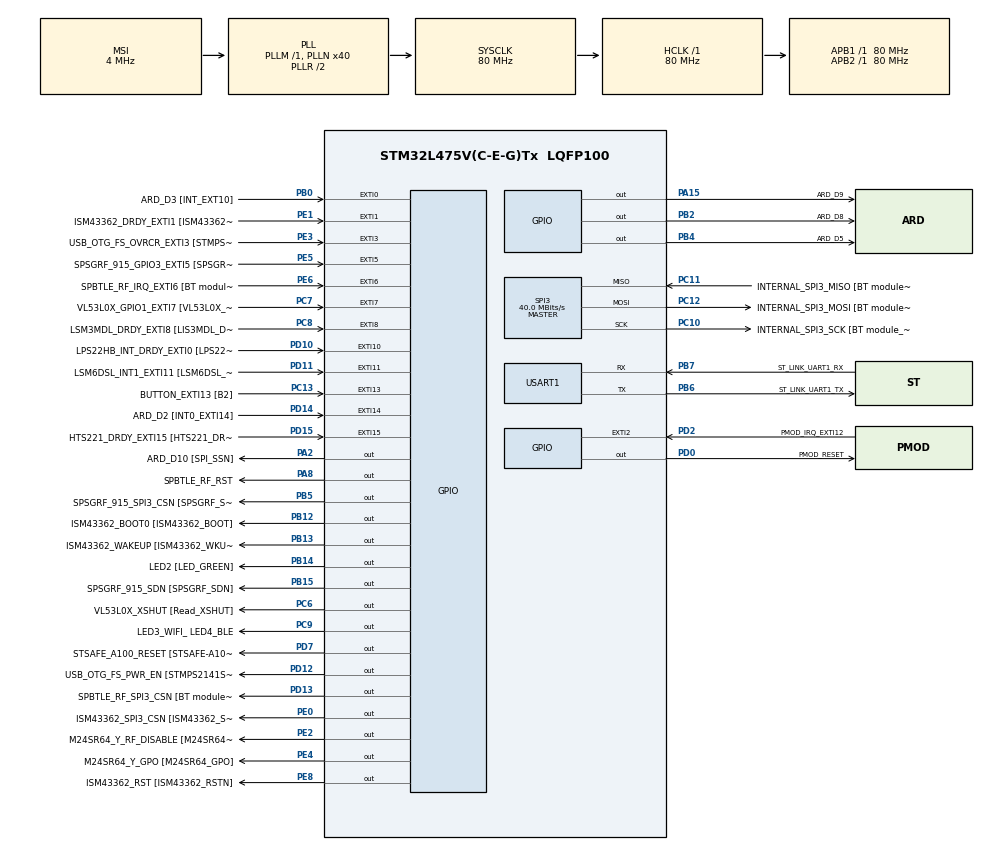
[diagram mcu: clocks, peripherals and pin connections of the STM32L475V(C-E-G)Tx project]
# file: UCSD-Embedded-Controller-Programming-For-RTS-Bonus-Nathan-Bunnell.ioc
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Dma.Request0=USART1_RX
Dma.Request1=USART1_TX
Dma.USART1_RX.0.Direction=DMA_PERIPH_TO_MEMORY
Dma.USART1_RX.0.Instance=DMA1_Channel5
Dma.USART1_RX.0.MemDataAlignment=DMA_MDATAALIGN_BYTE
Dma.USART1_RX.0.MemInc=DMA_MINC_ENABLE
Dma.USART1_RX.0.Mode=DMA_NORMAL
Dma.USART1_RX.0.PeriphDataAlignment=DMA_PDATAALIGN_BYTE
Dma.USART1_RX.0.PeriphInc=DMA_PINC_DISABLE
Dma.USART1_RX.0.Priority=DMA_PRIORITY_LOW
Dma.USART1_TX.1.Direction=DMA_MEMORY_TO_PERIPH
Dma.USART1_TX.1.Instance=DMA1_Channel4
Dma.USART1_TX.1.MemDataAlignment=DMA_MDATAALIGN_BYTE
Dma.USART1_TX.1.MemInc=DMA_MINC_ENABLE
Dma.USART1_TX.1.Mode=DMA_NORMAL
Dma.USART1_TX.1.PeriphDataAlignment=DMA_PDATAALIGN_BYTE
Dma.USART1_TX.1.PeriphInc=DMA_PINC_DISABLE
Dma.USART1_TX.1.Priority=DMA_PRIORITY_LOW
Mcu.Family=STM32L4
Mcu.Name=STM32L475V(C-E-G)Tx
Mcu.Package=LQFP100
NVIC.DMA1_Channel4_IRQn=true\:0\:0\:false\:false\:true\:false\:true
NVIC.DMA1_Channel5_IRQn=true\:0\:0\:false\:false\:true\:false\:true
NVIC.EXTI15_10_IRQn=true\:0\:0\:false\:false\:true\:true\:true
NVIC.EXTI9_5_IRQn=true\:0\:0\:false\:false\:true\:true\:true
NVIC.PriorityGroup=NVIC_PRIORITYGROUP_4
NVIC.RTC_Alarm_IRQn=true\:0\:0\:false\:false\:true\:true\:true
NVIC.USART1_IRQn=true\:0\:0\:false\:false\:true\:true\:true
PA0.GPIO_Label=ARD_D1 [UART4_TX]
PA0.Signal=UART4_TX
PA1.GPIO_Label=ARD_D0 [UART4_RX]
PA1.Signal=UART4_RX
PA10.GPIO_Label=USB_OTG_FS_ID
PA10.Signal=USB_OTG_FS_ID
PA11.GPIO_Label=USB_OTG_FS_DM
PA11.Signal=USB_OTG_FS_DM
PA12.GPIO_Label=USB_OTG_FS_DP
PA12.Signal=USB_OTG_FS_DP
PA13\ (JTMS-SWDIO).GPIO_Label=SYS_JTMS_SWDIO
PA13\ (JTMS-SWDIO).Mode=Serial_Wire
PA13\ (JTMS-SWDIO).Signal=SYS_JTMS-SWDIO
PA14\ (JTCK-SWCLK).GPIO_Label=SYS_JTCK_SWCLK
PA14\ (JTCK-SWCLK).Mode=Serial_Wire
PA14\ (JTCK-SWCLK).Signal=SYS_JTCK-SWCLK
PA15\ (JTDI).GPIO_Label=ARD_D9
PA15\ (JTDI).Signal=GPIO_Output
PA2.GPIO_Label=ARD_D10 [SPI_SSN]
PA2.Signal=GPIO_Output
PA3.GPIO_Label=ARD_D4
PA3.Signal=S_TIM2_CH4
PA4.GPIO_Label=ARD_D7
PA4.Signal=ADCx_IN9
PA5.GPIO_Label=ARD_D13 [SPI1_SCK]
PA5.Signal=SPI1_SCK
PA6.GPIO_Label=ARD_D12 [SPI1_MISO]
PA6.Signal=SPI1_MISO
PA7.GPIO_Label=ARD_D11 [SPI1_MOSI]
PA7.Signal=SPI1_MOSI
PA8.GPIO_Label=SPBTLE_RF_RST
PA8.Signal=GPIO_Output
PA9.GPIO_Label=USB_OTG_FS_VBUS [STMPS2141STR_OUT]
PA9.Signal=USB_OTG_FS_VBUS
PB0.GPIO_Label=ARD_D3 [INT_EXT10]
PB0.Signal=GPXTI0
PB1.GPIO_Label=ARD_D6 [ADC1_IN6]
PB1.Signal=ADCx_IN16
PB10.GPIO_Label=INTERNAL_I2C2_SCL [VL53L0X_SCL]
PB10.GPIO_Pu=GPIO_PULLUP
PB10.Signal=I2C2_SCL
PB11.GPIO_Label=INTERNAL_I2C2_SDA [VL53L0X_SDA]
PB11.GPIO_Pu=GPIO_PULLUP
PB11.Signal=I2C2_SDA
PB12.GPIO_Label=ISM43362_BOOT0 [ISM43362_BOOT]
PB12.Signal=GPIO_Output
PB13.GPIO_Label=ISM43362_WAKEUP [ISM43362_WKUP]
PB13.Signal=GPIO_Output
PB14.GPIO_Label=LED2 [LED_GREEN]
PB14.Signal=GPIO_Output
PB15.GPIO_Label=SPSGRF_915_SDN [SPSGRF_SDN]
PB15.Signal=GPIO_Output
PB2.GPIO_Label=ARD_D8
PB2.Signal=GPIO_Output
PB3\ (JTDO-TRACESWO).GPIO_Label=SYS_JTD0_SWO
PB3\ (JTDO-TRACESWO).Signal=SYS_JTDO-SWO
PB4\ (NJTRST).GPIO_Label=ARD_D5
PB4\ (NJTRST).Signal=GPIO_Output
PB5.GPIO_Label=SPSGRF_915_SPI3_CSN [SPSGRF_SPI_CS]
PB5.PinState=GPIO_PIN_SET
PB5.Signal=GPIO_Output
PB6.GPIO_Label=ST_LINK_UART1_TX
PB6.Mode=Asynchronous
PB6.Signal=USART1_TX
PB7.GPIO_Label=ST_LINK_UART1_RX
PB7.Mode=Asynchronous
PB7.Signal=USART1_RX
PB8.GPIO_Label=ARD_D15 [I2C1_SCL]
PB8.Signal=I2C1_SCL
PB9.GPIO_Label=ARD_D14 [I2C1_SDA]
PB9.Signal=I2C1_SDA
PC0.GPIO_Label=ARD_A5 [ADC]
PC0.Signal=ADCx_IN1
PC1.GPIO_Label=ARD_A4 [ADC]
PC1.Signal=ADCx_IN2
PC10.GPIO_Label=INTERNAL_SPI3_SCK [BT module_SPI_SCLK] [ISM43362_SCK]
PC10.Mode=Full_Duplex_Master
PC10.Signal=SPI3_SCK
PC11.GPIO_Label=INTERNAL_SPI3_MISO [BT module_SPI_MISO] [ISM43362_MISO]
PC11.Mode=Full_Duplex_Master
PC11.Signal=SPI3_MISO
PC12.GPIO_Label=INTERNAL_SPI3_MOSI [BT module_SPI_MOSI] [ISM43362_MOSI]
PC12.Mode=Full_Duplex_Master
PC12.Signal=SPI3_MOSI
PC13.GPIO_Label=BUTTON_EXTI13 [B2]
PC13.GPIO_ModeDefaultEXTI=GPIO_MODE_IT_FALLING
PC13.Signal=GPXTI13
PC14-OSC32_IN\ (PC14).Mode=LSE-External-Oscillator
PC14-OSC32_IN\ (PC14).Signal=RCC_OSC32_IN
PC15-OSC32_OUT\ (PC15).Mode=LSE-External-Oscillator
PC15-OSC32_OUT\ (PC15).Signal=RCC_OSC32_OUT
PC2.GPIO_Label=ARD_A3 [ADC]
PC2.Signal=ADCx_IN3
PC3.GPIO_Label=ARD_A2 [ADC]
PC3.Signal=ADCx_IN4
PC4.GPIO_Label=ARD_A1 [ADC]
PC4.Signal=ADCx_IN13
PC5.GPIO_Label=ARD_A0 [ADC]
PC5.Signal=ADCx_IN14
PC6.GPIO_Label=VL53L0X_XSHUT [Read_XSHUT]
PC6.Signal=GPIO_Output
PC7.GPIO_Label=VL53L0X_GPIO1_EXTI7 [VL53L0X_GPIO1]
PC7.Signal=GPXTI7
PC8.GPIO_Label=LSM3MDL_DRDY_EXTI8 [LIS3MDL_DRDY]
PC8.Signal=GPXTI8
PC9.GPIO_Label=LED3_WIFI_ LED4_BLE
PC9.Signal=GPIO_Output
PD0.GPIO_Label=PMOD_RESET
PD0.Signal=GPIO_Output
PD1.GPIO_Label=PMOD_SPI2_SCK
PD1.Signal=SPI2_SCK
PD10.GPIO_Label=LPS22HB_INT_DRDY_EXTI0 [LPS22HB_INT_DRDY] 
PD10.Signal=GPXTI10
PD11.GPIO_Label=LSM6DSL_INT1_EXTI11 [LSM6DSL_INT1]
PD11.Signal=GPXTI11
PD12.GPIO_Label=USB_OTG_FS_PWR_EN [STMPS2141STR_EN]
PD12.Signal=GPIO_Output
PD13.GPIO_Label=SPBTLE_RF_SPI3_CSN [BT module_SPI_CS]
PD13.PinState=GPIO_PIN_SET
PD13.Signal=GPIO_Output
PD14.GPIO_Label=ARD_D2 [INT0_EXTI14]
PD14.Signal=GPXTI14
PD15.GPIO_Label=HTS221_DRDY_EXTI15 [HTS221_DRDY]
PD15.Signal=GPXTI15
PD2.GPIO_Label=PMOD_IRQ_EXTI12
PD2.Signal=GPXTI2
PD3.GPIO_Label=PMOD_UART2_CTS
PD3.Signal=USART2_CTS
PD4.GPIO_Label=PMOD_UART2_RTS
PD4.Signal=USART2_RTS
PD5.GPIO_Label=PMOD_UART2_TX
PD5.Signal=USART2_TX
PD6.GPIO_Label=PMOD_UART2_RX
PD6.Signal=USART2_RX
PD7.GPIO_Label=STSAFE_A100_RESET [STSAFE-A100_RESET]
PD7.Signal=GPIO_Output
PD8.GPIO_Label=INTERNAL_UART3_TX [ISM43362_RX]
PD8.Signal=USART3_TX
PD9.GPIO_Label=INTERNAL_UART3_RX [ISM43362_TX]
PD9.Signal=USART3_RX
PE0.GPIO_Label=ISM43362_SPI3_CSN [ISM43362_SSN]
PE0.PinState=GPIO_PIN_SET
PE0.Signal=GPIO_Output
PE1.GPIO_Label=ISM43362_DRDY_EXTI1 [ISM43362_DATARDY]
PE1.Signal=GPXTI1
PE10.GPIO_Label=QUADSPI_CLK [MX25R6435F_SCLK]
PE10.Signal=QUADSPI_CLK
PE11.GPIO_Label=QUADSPI_NCS [MX25R6435F_SCLK]
PE11.Signal=QUADSPI_NCS
PE12.GPIO_Label=OQUADSPI_BK1_IO0 [MX25R6435F_IO0]
PE12.Signal=QUADSPI_BK1_IO0
PE13.GPIO_Label=QUADSPI_BK1_IO1 [MX25R6435F_IO1]
PE13.Signal=QUADSPI_BK1_IO1
PE14.GPIO_Label=QUAD_SPI_BK1_IO2 [MX25R6435F_IO2]
PE14.Signal=QUADSPI_BK1_IO2
PE15.GPIO_Label=QUAD_SPI_BK1_IO3 [MX25R6435F_IO3]
PE15.Signal=QUADSPI_BK1_IO3
PE2.GPIO_Label=M24SR64_Y_RF_DISABLE [M24SR64_RFDIS]
PE2.Signal=GPIO_Output
PE3.GPIO_Label=USB_OTG_FS_OVRCR_EXTI3 [STMPS2141STR_FAULT]
PE3.Signal=GPXTI3
PE4.GPIO_Label=M24SR64_Y_GPO [M24SR64_GPO]
PE4.Signal=GPIO_Output
PE5.GPIO_Label=SPSGRF_915_GPIO3_EXTI5 [SPSGRF_GPIO_3]
PE5.Signal=GPXTI5
PE6.GPIO_Label=SPBTLE_RF_IRQ_EXTI6 [BT module_SPI_IRQ]
PE6.Signal=GPXTI6
PE7.GPIO_Label=DFSDM1_DATIN2 [MP34DT01_DOUT]
PE7.Signal=S_DATAIN2DFSDM1
PE8.GPIO_Label=ISM43362_RST [ISM43362_RSTN]
PE8.Signal=GPIO_Output
PE9.GPIO_Label=DFSDM1_CKOUT [MP34DT01_CLK]
PE9.Signal=S_CKOUTDFSDM1
ProjectManager.HeapSize=0x200
ProjectManager.StackSize=0x400
ProjectManager.TargetToolchain=STM32CubeIDE
RCC.ADCFreq_Value=48000000
RCC.AHBFreq_Value=80000000
RCC.APB1Freq_Value=80000000
RCC.APB1TimFreq_Value=80000000
RCC.APB2Freq_Value=80000000
RCC.APB2TimFreq_Value=80000000
RCC.CortexFreq_Value=80000000
RCC.HCLKFreq_Value=80000000
RCC.HSE_VALUE=8000000
RCC.HSI_VALUE=16000000
RCC.MSI_VALUE=4000000
RCC.PLLN=40
RCC.PLLSAI1N=24
RCC.SYSCLKFreq_VALUE=80000000
RCC.SYSCLKSource=RCC_SYSCLKSOURCE_PLLCLK
RCC.USBFreq_Value=48000000
RCC.VCOOutputFreq_Value=160000000
RTC.Alarm-Alarm\ A=RTC_ALARM_A
SH.ADCx_IN1.0=ADC1_IN1
SH.ADCx_IN13.0=ADC1_IN13
SH.ADCx_IN14.0=ADC1_IN14
SH.ADCx_IN16.0=ADC1_IN16
SH.ADCx_IN2.0=ADC1_IN2
SH.ADCx_IN3.0=ADC1_IN3
SH.ADCx_IN4.0=ADC1_IN4
SH.ADCx_IN9.0=ADC1_IN9
SH.S_CKOUTDFSDM1.0=DFSDM1_CKOUT
SH.S_DATAIN2DFSDM1.0=DFSDM1_DATIN2
SH.S_TIM2_CH4.0=TIM2_CH4
SPI3.CalculateBaudRate=40.0 MBits/s
SPI3.Direction=SPI_DIRECTION_2LINES
SPI3.Mode=SPI_MODE_MASTER
SPI3.VirtualType=VM_MASTER
USART1.VirtualMode-Asynchronous=VM_ASYNC
VP_RTC_VS_RTC_Activate.Mode=RTC_Enabled
VP_RTC_VS_RTC_Alarm_A_Intern.Mode=Alarm A
VP_RTC_VS_RTC_Calendar.Mode=RTC_Calendar
board=B-L475E-IOT01A1

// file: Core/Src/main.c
/* USER CODE BEGIN Header */
/**
  ******************************************************************************
  * @file           : main.c
  * @brief          : Main program body
  ******************************************************************************
  * @attention
  *
  * <h2><center>&copy; Copyright (c) 2021 STMicroelectronics.
  * All rights reserved.</center></h2>
  *
  * This software component is licensed by ST under BSD 3-Clause license,
  * the "License"; You may not use this file except in compliance with the
  * License. You may obtain a copy of the License at:
  *                        opensource.org/licenses/BSD-3-Clause
  *
  ******************************************************************************
  */
/* USER CODE END Header */
#include "main.h"

/* USER CODE BEGIN Includes */

#include <stdio.h>
#include <string.h>
#include <stdbool.h>

/* USER CODE END Includes */

RTC_HandleTypeDef hrtc;

SPI_HandleTypeDef hspi3;

UART_HandleTypeDef huart1;
DMA_HandleTypeDef hdma_usart1_rx;
DMA_HandleTypeDef hdma_usart1_tx;

/* USER CODE BEGIN PV */

// Define a pair of interrupt-complete status flags
static bool txInterruptComplete = 0;
static bool rxInterruptComplete = 0;

/* USER CODE END PV */

void SystemClock_Config(void);
static void MX_GPIO_Init(void);
static void MX_SPI3_Init(void);
static void MX_DMA_Init(void);
static void MX_USART1_UART_Init(void);
static void MX_RTC_Init(void);
/* USER CODE BEGIN PFP */

//void HAL_UART_TxCpltCallback(UART_HandleTypeDef *huart);
//void HAL_UART_RxCpltCallback(UART_HandleTypeDef *huart);

void logMsg(UART_HandleTypeDef *huart, char *_out);
char logGetMsg(UART_HandleTypeDef *huart);

/* USER CODE END PFP */

/* USER CODE BEGIN 0 */

// Define the IT callback functions
void HAL_UART_TxCpltCallback(UART_HandleTypeDef *huart)
{
	// Set our complete flag
	txInterruptComplete = 1;
}

void HAL_UART_RxCpltCallback(UART_HandleTypeDef *huart)
{
	// Set our complete flag
	rxInterruptComplete = 1;
}

// logMsg function prints a string, _out, to the console over the specified UART
void logMsg(UART_HandleTypeDef *huart, char *_out)
{
	// Clear the complete flag
	txInterruptComplete = 0;

	char buffer[100] = {0};		// Large char buffer for string printing
    snprintf(buffer, sizeof(buffer), "%s", _out);
    HAL_UART_Transmit_DMA(&huart1, (uint8_t*) buffer, strlen(buffer));

    // Loiter until the IT complete flag is set

	while (!txInterruptComplete)
	{
		;
	}

}

// logMsg function returns a char, c, over the specified UART
char logGetMsg(UART_HandleTypeDef *huart)
{
	// Clear the complete flag
	rxInterruptComplete = 0;

  char c = '\0';				// Set default return value to NULL
  HAL_UART_Receive_DMA(&huart1, (uint8_t*) &c, sizeof(c));

  // Loiter until the IT complete flag is set
  while (!rxInterruptComplete)
  {
	  ;
  }

  return c;
}

/* USER CODE END 0 */

int main(void)
{

  /* MCU Configuration--------------------------------------------------------*/

  /* Reset of all peripherals, Initializes the Flash interface and the Systick. */
  HAL_Init();

  /* Configure the system clock */
  SystemClock_Config();

  /* Initialize all configured peripherals */
  MX_GPIO_Init();
  MX_SPI3_Init();
  MX_DMA_Init();
  MX_USART1_UART_Init();
  MX_RTC_Init();
  /* USER CODE BEGIN 2 */

  RTC_DateTypeDef rtcDate;
  RTC_TimeTypeDef rtcTime;

  // Header info with instructions for user at console
    logMsg(&huart1, "Welcome to Embedded controller programming\n");
    logMsg(&huart1, " - Enter g for toggling Green LED\n");
    logMsg(&huart1, " - Enter b for toggling Blue LED\n");
    logMsg(&huart1, " - Enter t for RTC values\n");
    logMsg(&huart1, " - Enter c for clock mode\n");

  /* USER CODE END 2 */

  /* Infinite loop */
  while (1)
  {

    /* USER CODE BEGIN 3 */
	  // Define an input char with default value of NULL
	      char input = '\0';
	      input = logGetMsg(&huart1);

	      // Evaluate input char and execute methods associated with command
	      switch(input)
	      {
	          // Print received char, toggle green LED
	          case ('g'):
	          {
	              logMsg(&huart1, "g\n");
	              HAL_GPIO_TogglePin(LED2_GPIO_Port, LED2_Pin);
	              break;
	          }

	          // Print received char, toggle blue LED
	          case ('b'):
	          {
	              logMsg(&huart1, "b\n");
	              HAL_GPIO_TogglePin(LED3_WIFI__LED4_BLE_GPIO_Port, LED3_WIFI__LED4_BLE_Pin);
	              break;
	          }

	          // Print RTC time
			  case ('t'):
			  {
				  logMsg(&huart1, "t\n");
				  HAL_RTC_GetTime(&hrtc, &rtcTime, RTC_FORMAT_BIN);
				  HAL_RTC_GetDate(&hrtc, &rtcDate, RTC_FORMAT_BIN);

				  char buffer[100] = {0};		// Large char buffer for string printing
				  snprintf(buffer, sizeof(buffer), "Current date is: %02d/%02d/%02d\n", rtcDate.Month, rtcDate.Date, rtcDate.Year);
				  //HAL_UART_Transmit_DMA(&huart1, (uint8_t*) buffer, strlen(buffer));
				  logMsg(&huart1, buffer);

				  HAL_Delay(100);

				  snprintf(buffer, sizeof(buffer), "Current time is: %02d:%02d:%02d\n", rtcTime.Hours, rtcTime.Minutes, rtcTime.Seconds);
				  //HAL_UART_Transmit_DMA(&huart1, (uint8_t*) buffer, strlen(buffer));
				  logMsg(&huart1, buffer);

				  break;
			  }

			  case ('c'):
			  {
				  logMsg(&huart1, "Entering clock mode. Reset req'd to exit!\n");
				  char buffer[100] = {0};		// Large char buffer for string printing
/*
				  HAL_RTC_GetTime(&hrtc, &rtcTime, RTC_FORMAT_BIN);

				  snprintf(buffer, sizeof(buffer), "\rCurrent time is: %02d:%02d:%02d", rtcTime.Hours, rtcTime.Minutes, rtcTime.Seconds);
				  logMsg(&huart1, buffer);
*/
				  while(1)
				  {
					  HAL_RTC_GetTime(&hrtc, &rtcTime, RTC_FORMAT_BIN);
					  HAL_RTC_GetDate(&hrtc, &rtcDate, RTC_FORMAT_BIN);

					  snprintf(buffer, sizeof(buffer), "Current time is: %02d:%02d:%02d", rtcTime.Hours, rtcTime.Minutes, rtcTime.Seconds);
					  logMsg(&huart1, "\r");
					  logMsg(&huart1, buffer);

					  HAL_Delay(5000);
				  }

				  break;
			  }

	          // Default case. Print error message
	          default:
	          {
	              logMsg(&huart1, "Unknown character received!\n");
	              break;
	          }
	      }
  }
  /* USER CODE END 3 */
}

void SystemClock_Config(void)
{
  RCC_OscInitTypeDef RCC_OscInitStruct = {0};
  RCC_ClkInitTypeDef RCC_ClkInitStruct = {0};

  /** Configure the main internal regulator output voltage
  */
  if (HAL_PWREx_ControlVoltageScaling(PWR_REGULATOR_VOLTAGE_SCALE1) != HAL_OK)
  {
    Error_Handler();
  }
  /** Configure LSE Drive Capability
  */
  HAL_PWR_EnableBkUpAccess();
  __HAL_RCC_LSEDRIVE_CONFIG(RCC_LSEDRIVE_LOW);
  /** Initializes the RCC Oscillators according to the specified parameters
  * in the RCC_OscInitTypeDef structure.
  */
  RCC_OscInitStruct.OscillatorType = RCC_OSCILLATORTYPE_LSI|RCC_OSCILLATORTYPE_LSE
                              |RCC_OSCILLATORTYPE_MSI;
  RCC_OscInitStruct.LSEState = RCC_LSE_ON;
  RCC_OscInitStruct.LSIState = RCC_LSI_ON;
  RCC_OscInitStruct.MSIState = RCC_MSI_ON;
  RCC_OscInitStruct.MSICalibrationValue = 0;
  RCC_OscInitStruct.MSIClockRange = RCC_MSIRANGE_6;
  RCC_OscInitStruct.PLL.PLLState = RCC_PLL_ON;
  RCC_OscInitStruct.PLL.PLLSource = RCC_PLLSOURCE_MSI;
  RCC_OscInitStruct.PLL.PLLM = 1;
  RCC_OscInitStruct.PLL.PLLN = 40;
  RCC_OscInitStruct.PLL.PLLP = RCC_PLLP_DIV7;
  RCC_OscInitStruct.PLL.PLLQ = RCC_PLLQ_DIV2;
  RCC_OscInitStruct.PLL.PLLR = RCC_PLLR_DIV2;
  if (HAL_RCC_OscConfig(&RCC_OscInitStruct) != HAL_OK)
  {
    Error_Handler();
  }
  /** Initializes the CPU, AHB and APB buses clocks
  */
  RCC_ClkInitStruct.ClockType = RCC_CLOCKTYPE_HCLK|RCC_CLOCKTYPE_SYSCLK
                              |RCC_CLOCKTYPE_PCLK1|RCC_CLOCKTYPE_PCLK2;
  RCC_ClkInitStruct.SYSCLKSource = RCC_SYSCLKSOURCE_PLLCLK;
  RCC_ClkInitStruct.AHBCLKDivider = RCC_SYSCLK_DIV1;
  RCC_ClkInitStruct.APB1CLKDivider = RCC_HCLK_DIV1;
  RCC_ClkInitStruct.APB2CLKDivider = RCC_HCLK_DIV1;

  if (HAL_RCC_ClockConfig(&RCC_ClkInitStruct, FLASH_LATENCY_4) != HAL_OK)
  {
    Error_Handler();
  }
  /** Enable MSI Auto calibration
  */
  HAL_RCCEx_EnableMSIPLLMode();
}

static void MX_RTC_Init(void)
{

  RTC_TimeTypeDef sTime = {0};
  RTC_DateTypeDef sDate = {0};
  RTC_AlarmTypeDef sAlarm = {0};

  /** Initialize RTC Only
  */
  hrtc.Instance = RTC;
  hrtc.Init.HourFormat = RTC_HOURFORMAT_24;
  hrtc.Init.AsynchPrediv = 127;
  hrtc.Init.SynchPrediv = 255;
  hrtc.Init.OutPut = RTC_OUTPUT_DISABLE;
  hrtc.Init.OutPutRemap = RTC_OUTPUT_REMAP_NONE;
  hrtc.Init.OutPutPolarity = RTC_OUTPUT_POLARITY_HIGH;
  hrtc.Init.OutPutType = RTC_OUTPUT_TYPE_OPENDRAIN;
  if (HAL_RTC_Init(&hrtc) != HAL_OK)
  {
    Error_Handler();
  }

  /** Initialize RTC and set the Time and Date
  */
  sTime.Hours = 0x0;
  sTime.Minutes = 0x0;
  sTime.Seconds = 0x0;
  sTime.DayLightSaving = RTC_DAYLIGHTSAVING_NONE;
  sTime.StoreOperation = RTC_STOREOPERATION_RESET;
  if (HAL_RTC_SetTime(&hrtc, &sTime, RTC_FORMAT_BCD) != HAL_OK)
  {
    Error_Handler();
  }
  sDate.WeekDay = RTC_WEEKDAY_MONDAY;
  sDate.Month = RTC_MONTH_JANUARY;
  sDate.Date = 0x1;
  sDate.Year = 0x0;

  if (HAL_RTC_SetDate(&hrtc, &sDate, RTC_FORMAT_BCD) != HAL_OK)
  {
    Error_Handler();
  }
  /** Enable the Alarm A
  */
  sAlarm.AlarmTime.Hours = 0x0;
  sAlarm.AlarmTime.Minutes = 0x0;
  sAlarm.AlarmTime.Seconds = 0x0;
  sAlarm.AlarmTime.SubSeconds = 0x0;
  sAlarm.AlarmTime.DayLightSaving = RTC_DAYLIGHTSAVING_NONE;
  sAlarm.AlarmTime.StoreOperation = RTC_STOREOPERATION_RESET;
  sAlarm.AlarmMask = RTC_ALARMMASK_NONE;
  sAlarm.AlarmSubSecondMask = RTC_ALARMSUBSECONDMASK_ALL;
  sAlarm.AlarmDateWeekDaySel = RTC_ALARMDATEWEEKDAYSEL_DATE;
  sAlarm.AlarmDateWeekDay = 0x1;
  sAlarm.Alarm = RTC_ALARM_A;
  if (HAL_RTC_SetAlarm_IT(&hrtc, &sAlarm, RTC_FORMAT_BCD) != HAL_OK)
  {
    Error_Handler();
  }

}

static void MX_SPI3_Init(void)
{

  /* SPI3 parameter configuration*/
  hspi3.Instance = SPI3;
  hspi3.Init.Mode = SPI_MODE_MASTER;
  hspi3.Init.Direction = SPI_DIRECTION_2LINES;
  hspi3.Init.DataSize = SPI_DATASIZE_4BIT;
  hspi3.Init.CLKPolarity = SPI_POLARITY_LOW;
  hspi3.Init.CLKPhase = SPI_PHASE_1EDGE;
  hspi3.Init.NSS = SPI_NSS_SOFT;
  hspi3.Init.BaudRatePrescaler = SPI_BAUDRATEPRESCALER_2;
  hspi3.Init.FirstBit = SPI_FIRSTBIT_MSB;
  hspi3.Init.TIMode = SPI_TIMODE_DISABLE;
  hspi3.Init.CRCCalculation = SPI_CRCCALCULATION_DISABLE;
  hspi3.Init.CRCPolynomial = 7;
  hspi3.Init.CRCLength = SPI_CRC_LENGTH_DATASIZE;
  hspi3.Init.NSSPMode = SPI_NSS_PULSE_ENABLE;
  if (HAL_SPI_Init(&hspi3) != HAL_OK)
  {
    Error_Handler();
  }

}

static void MX_USART1_UART_Init(void)
{

  huart1.Instance = USART1;
  huart1.Init.BaudRate = 115200;
  huart1.Init.WordLength = UART_WORDLENGTH_8B;
  huart1.Init.StopBits = UART_STOPBITS_1;
  huart1.Init.Parity = UART_PARITY_NONE;
  huart1.Init.Mode = UART_MODE_TX_RX;
  huart1.Init.HwFlowCtl = UART_HWCONTROL_NONE;
  huart1.Init.OverSampling = UART_OVERSAMPLING_16;
  huart1.Init.OneBitSampling = UART_ONE_BIT_SAMPLE_DISABLE;
  huart1.AdvancedInit.AdvFeatureInit = UART_ADVFEATURE_NO_INIT;
  if (HAL_UART_Init(&huart1) != HAL_OK)
  {
    Error_Handler();
  }

}

static void MX_DMA_Init(void)
{

  /* DMA controller clock enable */
  __HAL_RCC_DMA1_CLK_ENABLE();

  /* DMA interrupt init */
  /* DMA1_Channel4_IRQn interrupt configuration */
  HAL_NVIC_SetPriority(DMA1_Channel4_IRQn, 0, 0);
  HAL_NVIC_EnableIRQ(DMA1_Channel4_IRQn);
  /* DMA1_Channel5_IRQn interrupt configuration */
  HAL_NVIC_SetPriority(DMA1_Channel5_IRQn, 0, 0);
  HAL_NVIC_EnableIRQ(DMA1_Channel5_IRQn);

}

static void MX_GPIO_Init(void)
{
  GPIO_InitTypeDef GPIO_InitStruct = {0};

  /* GPIO Ports Clock Enable */
  __HAL_RCC_GPIOE_CLK_ENABLE();
  __HAL_RCC_GPIOC_CLK_ENABLE();
  __HAL_RCC_GPIOA_CLK_ENABLE();
  __HAL_RCC_GPIOB_CLK_ENABLE();
  __HAL_RCC_GPIOD_CLK_ENABLE();

  /*Configure GPIO pin Output Level */
  HAL_GPIO_WritePin(GPIOE, M24SR64_Y_RF_DISABLE_Pin|M24SR64_Y_GPO_Pin|ISM43362_RST_Pin, GPIO_PIN_RESET);

  /*Configure GPIO pin Output Level */
  HAL_GPIO_WritePin(GPIOA, ARD_D10_Pin|SPBTLE_RF_RST_Pin|ARD_D9_Pin, GPIO_PIN_RESET);

  /*Configure GPIO pin Output Level */
  HAL_GPIO_WritePin(GPIOB, ARD_D8_Pin|ISM43362_BOOT0_Pin|ISM43362_WAKEUP_Pin|LED2_Pin
                          |SPSGRF_915_SDN_Pin|ARD_D5_Pin, GPIO_PIN_RESET);

  /*Configure GPIO pin Output Level */
  HAL_GPIO_WritePin(GPIOD, USB_OTG_FS_PWR_EN_Pin|PMOD_RESET_Pin|STSAFE_A100_RESET_Pin, GPIO_PIN_RESET);

  /*Configure GPIO pin Output Level */
  HAL_GPIO_WritePin(SPBTLE_RF_SPI3_CSN_GPIO_Port, SPBTLE_RF_SPI3_CSN_Pin, GPIO_PIN_SET);

  /*Configure GPIO pin Output Level */
  HAL_GPIO_WritePin(GPIOC, VL53L0X_XSHUT_Pin|LED3_WIFI__LED4_BLE_Pin, GPIO_PIN_RESET);

  /*Configure GPIO pin Output Level */
  HAL_GPIO_WritePin(SPSGRF_915_SPI3_CSN_GPIO_Port, SPSGRF_915_SPI3_CSN_Pin, GPIO_PIN_SET);

  /*Configure GPIO pin Output Level */
  HAL_GPIO_WritePin(ISM43362_SPI3_CSN_GPIO_Port, ISM43362_SPI3_CSN_Pin, GPIO_PIN_SET);

  /*Configure GPIO pins : M24SR64_Y_RF_DISABLE_Pin M24SR64_Y_GPO_Pin ISM43362_RST_Pin ISM43362_SPI3_CSN_Pin */
  GPIO_InitStruct.Pin = M24SR64_Y_RF_DISABLE_Pin|M24SR64_Y_GPO_Pin|ISM43362_RST_Pin|ISM43362_SPI3_CSN_Pin;
  GPIO_InitStruct.Mode = GPIO_MODE_OUTPUT_PP;
  GPIO_InitStruct.Pull = GPIO_NOPULL;
  GPIO_InitStruct.Speed = GPIO_SPEED_FREQ_LOW;
  HAL_GPIO_Init(GPIOE, &GPIO_InitStruct);

  /*Configure GPIO pins : USB_OTG_FS_OVRCR_EXTI3_Pin SPSGRF_915_GPIO3_EXTI5_Pin SPBTLE_RF_IRQ_EXTI6_Pin ISM43362_DRDY_EXTI1_Pin */
  GPIO_InitStruct.Pin = USB_OTG_FS_OVRCR_EXTI3_Pin|SPSGRF_915_GPIO3_EXTI5_Pin|SPBTLE_RF_IRQ_EXTI6_Pin|ISM43362_DRDY_EXTI1_Pin;
  GPIO_InitStruct.Mode = GPIO_MODE_IT_RISING;
  GPIO_InitStruct.Pull = GPIO_NOPULL;
  HAL_GPIO_Init(GPIOE, &GPIO_InitStruct);

  /*Configure GPIO pin : BUTTON_EXTI13_Pin */
  GPIO_InitStruct.Pin = BUTTON_EXTI13_Pin;
  GPIO_InitStruct.Mode = GPIO_MODE_IT_FALLING;
  GPIO_InitStruct.Pull = GPIO_NOPULL;
  HAL_GPIO_Init(BUTTON_EXTI13_GPIO_Port, &GPIO_InitStruct);

  /*Configure GPIO pins : ARD_A5_Pin ARD_A4_Pin ARD_A3_Pin ARD_A2_Pin
                           ARD_A1_Pin ARD_A0_Pin */
  GPIO_InitStruct.Pin = ARD_A5_Pin|ARD_A4_Pin|ARD_A3_Pin|ARD_A2_Pin
                          |ARD_A1_Pin|ARD_A0_Pin;
  GPIO_InitStruct.Mode = GPIO_MODE_ANALOG_ADC_CONTROL;
  GPIO_InitStruct.Pull = GPIO_NOPULL;
  HAL_GPIO_Init(GPIOC, &GPIO_InitStruct);

  /*Configure GPIO pins : ARD_D1_Pin ARD_D0_Pin */
  GPIO_InitStruct.Pin = ARD_D1_Pin|ARD_D0_Pin;
  GPIO_InitStruct.Mode = GPIO_MODE_AF_PP;
  GPIO_InitStruct.Pull = GPIO_NOPULL;
  GPIO_InitStruct.Speed = GPIO_SPEED_FREQ_VERY_HIGH;
  GPIO_InitStruct.Alternate = GPIO_AF8_UART4;
  HAL_GPIO_Init(GPIOA, &GPIO_InitStruct);

  /*Configure GPIO pins : ARD_D10_Pin SPBTLE_RF_RST_Pin ARD_D9_Pin */
  GPIO_InitStruct.Pin = ARD_D10_Pin|SPBTLE_RF_RST_Pin|ARD_D9_Pin;
  GPIO_InitStruct.Mode = GPIO_MODE_OUTPUT_PP;
  GPIO_InitStruct.Pull = GPIO_NOPULL;
  GPIO_InitStruct.Speed = GPIO_SPEED_FREQ_LOW;
  HAL_GPIO_Init(GPIOA, &GPIO_InitStruct);

  /*Configure GPIO pin : ARD_D4_Pin */
  GPIO_InitStruct.Pin = ARD_D4_Pin;
  GPIO_InitStruct.Mode = GPIO_MODE_AF_PP;
  GPIO_InitStruct.Pull = GPIO_NOPULL;
  GPIO_InitStruct.Speed = GPIO_SPEED_FREQ_LOW;
  GPIO_InitStruct.Alternate = GPIO_AF1_TIM2;
  HAL_GPIO_Init(ARD_D4_GPIO_Port, &GPIO_InitStruct);

  /*Configure GPIO pin : ARD_D7_Pin */
  GPIO_InitStruct.Pin = ARD_D7_Pin;
  GPIO_InitStruct.Mode = GPIO_MODE_ANALOG_ADC_CONTROL;
  GPIO_InitStruct.Pull = GPIO_NOPULL;
  HAL_GPIO_Init(ARD_D7_GPIO_Port, &GPIO_InitStruct);

  /*Configure GPIO pins : ARD_D13_Pin ARD_D12_Pin ARD_D11_Pin */
  GPIO_InitStruct.Pin = ARD_D13_Pin|ARD_D12_Pin|ARD_D11_Pin;
  GPIO_InitStruct.Mode = GPIO_MODE_AF_PP;
  GPIO_InitStruct.Pull = GPIO_NOPULL;
  GPIO_InitStruct.Speed = GPIO_SPEED_FREQ_VERY_HIGH;
  GPIO_InitStruct.Alternate = GPIO_AF5_SPI1;
  HAL_GPIO_Init(GPIOA, &GPIO_InitStruct);

  /*Configure GPIO pin : ARD_D3_Pin */
  GPIO_InitStruct.Pin = ARD_D3_Pin;
  GPIO_InitStruct.Mode = GPIO_MODE_IT_RISING;
  GPIO_InitStruct.Pull = GPIO_NOPULL;
  HAL_GPIO_Init(ARD_D3_GPIO_Port, &GPIO_InitStruct);

  /*Configure GPIO pin : ARD_D6_Pin */
  GPIO_InitStruct.Pin = ARD_D6_Pin;
  GPIO_InitStruct.Mode = GPIO_MODE_ANALOG_ADC_CONTROL;
  GPIO_InitStruct.Pull = GPIO_NOPULL;
  HAL_GPIO_Init(ARD_D6_GPIO_Port, &GPIO_InitStruct);

  /*Configure GPIO pins : ARD_D8_Pin ISM43362_BOOT0_Pin ISM43362_WAKEUP_Pin LED2_Pin
                           SPSGRF_915_SDN_Pin ARD_D5_Pin SPSGRF_915_SPI3_CSN_Pin */
  GPIO_InitStruct.Pin = ARD_D8_Pin|ISM43362_BOOT0_Pin|ISM43362_WAKEUP_Pin|LED2_Pin
                          |SPSGRF_915_SDN_Pin|ARD_D5_Pin|SPSGRF_915_SPI3_CSN_Pin;
  GPIO_InitStruct.Mode = GPIO_MODE_OUTPUT_PP;
  GPIO_InitStruct.Pull = GPIO_NOPULL;
  GPIO_InitStruct.Speed = GPIO_SPEED_FREQ_LOW;
  HAL_GPIO_Init(GPIOB, &GPIO_InitStruct);

  /*Configure GPIO pins : DFSDM1_DATIN2_Pin DFSDM1_CKOUT_Pin */
  GPIO_InitStruct.Pin = DFSDM1_DATIN2_Pin|DFSDM1_CKOUT_Pin;
  GPIO_InitStruct.Mode = GPIO_MODE_AF_PP;
  GPIO_InitStruct.Pull = GPIO_NOPULL;
  GPIO_InitStruct.Speed = GPIO_SPEED_FREQ_LOW;
  GPIO_InitStruct.Alternate = GPIO_AF6_DFSDM1;
  HAL_GPIO_Init(GPIOE, &GPIO_InitStruct);

  /*Configure GPIO pins : QUADSPI_CLK_Pin QUADSPI_NCS_Pin OQUADSPI_BK1_IO0_Pin QUADSPI_BK1_IO1_Pin
                           QUAD_SPI_BK1_IO2_Pin QUAD_SPI_BK1_IO3_Pin */
  GPIO_InitStruct.Pin = QUADSPI_CLK_Pin|QUADSPI_NCS_Pin|OQUADSPI_BK1_IO0_Pin|QUADSPI_BK1_IO1_Pin
                          |QUAD_SPI_BK1_IO2_Pin|QUAD_SPI_BK1_IO3_Pin;
  GPIO_InitStruct.Mode = GPIO_MODE_AF_PP;
  GPIO_InitStruct.Pull = GPIO_NOPULL;
  GPIO_InitStruct.Speed = GPIO_SPEED_FREQ_VERY_HIGH;
  GPIO_InitStruct.Alternate = GPIO_AF10_QUADSPI;
  HAL_GPIO_Init(GPIOE, &GPIO_InitStruct);

  /*Configure GPIO pins : INTERNAL_I2C2_SCL_Pin INTERNAL_I2C2_SDA_Pin */
  GPIO_InitStruct.Pin = INTERNAL_I2C2_SCL_Pin|INTERNAL_I2C2_SDA_Pin;
  GPIO_InitStruct.Mode = GPIO_MODE_AF_OD;
  GPIO_InitStruct.Pull = GPIO_PULLUP;
  GPIO_InitStruct.Speed = GPIO_SPEED_FREQ_VERY_HIGH;
  GPIO_InitStruct.Alternate = GPIO_AF4_I2C2;
  HAL_GPIO_Init(GPIOB, &GPIO_InitStruct);

  /*Configure GPIO pins : INTERNAL_UART3_TX_Pin INTERNAL_UART3_RX_Pin */
  GPIO_InitStruct.Pin = INTERNAL_UART3_TX_Pin|INTERNAL_UART3_RX_Pin;
  GPIO_InitStruct.Mode = GPIO_MODE_AF_PP;
  GPIO_InitStruct.Pull = GPIO_NOPULL;
  GPIO_InitStruct.Speed = GPIO_SPEED_FREQ_VERY_HIGH;
  GPIO_InitStruct.Alternate = GPIO_AF7_USART3;
  HAL_GPIO_Init(GPIOD, &GPIO_InitStruct);

  /*Configure GPIO pins : LPS22HB_INT_DRDY_EXTI0_Pin LSM6DSL_INT1_EXTI11_Pin ARD_D2_Pin HTS221_DRDY_EXTI15_Pin
                           PMOD_IRQ_EXTI12_Pin */
  GPIO_InitStruct.Pin = LPS22HB_INT_DRDY_EXTI0_Pin|LSM6DSL_INT1_EXTI11_Pin|ARD_D2_Pin|HTS221_DRDY_EXTI15_Pin
                          |PMOD_IRQ_EXTI12_Pin;
  GPIO_InitStruct.Mode = GPIO_MODE_IT_RISING;
  GPIO_InitStruct.Pull = GPIO_NOPULL;
  HAL_GPIO_Init(GPIOD, &GPIO_InitStruct);

  /*Configure GPIO pins : USB_OTG_FS_PWR_EN_Pin SPBTLE_RF_SPI3_CSN_Pin PMOD_RESET_Pin STSAFE_A100_RESET_Pin */
  GPIO_InitStruct.Pin = USB_OTG_FS_PWR_EN_Pin|SPBTLE_RF_SPI3_CSN_Pin|PMOD_RESET_Pin|STSAFE_A100_RESET_Pin;
  GPIO_InitStruct.Mode = GPIO_MODE_OUTPUT_PP;
  GPIO_InitStruct.Pull = GPIO_NOPULL;
  GPIO_InitStruct.Speed = GPIO_SPEED_FREQ_LOW;
  HAL_GPIO_Init(GPIOD, &GPIO_InitStruct);

  /*Configure GPIO pins : VL53L0X_XSHUT_Pin LED3_WIFI__LED4_BLE_Pin */
  GPIO_InitStruct.Pin = VL53L0X_XSHUT_Pin|LED3_WIFI__LED4_BLE_Pin;
  GPIO_InitStruct.Mode = GPIO_MODE_OUTPUT_PP;
  GPIO_InitStruct.Pull = GPIO_NOPULL;
  GPIO_InitStruct.Speed = GPIO_SPEED_FREQ_LOW;
  HAL_GPIO_Init(GPIOC, &GPIO_InitStruct);

  /*Configure GPIO pins : VL53L0X_GPIO1_EXTI7_Pin LSM3MDL_DRDY_EXTI8_Pin */
  GPIO_InitStruct.Pin = VL53L0X_GPIO1_EXTI7_Pin|LSM3MDL_DRDY_EXTI8_Pin;
  GPIO_InitStruct.Mode = GPIO_MODE_IT_RISING;
  GPIO_InitStruct.Pull = GPIO_NOPULL;
  HAL_GPIO_Init(GPIOC, &GPIO_InitStruct);

  /*Configure GPIO pin : USB_OTG_FS_VBUS_Pin */
  GPIO_InitStruct.Pin = USB_OTG_FS_VBUS_Pin;
  GPIO_InitStruct.Mode = GPIO_MODE_INPUT;
  GPIO_InitStruct.Pull = GPIO_NOPULL;
  HAL_GPIO_Init(USB_OTG_FS_VBUS_GPIO_Port, &GPIO_InitStruct);

  /*Configure GPIO pins : USB_OTG_FS_ID_Pin USB_OTG_FS_DM_Pin USB_OTG_FS_DP_Pin */
  GPIO_InitStruct.Pin = USB_OTG_FS_ID_Pin|USB_OTG_FS_DM_Pin|USB_OTG_FS_DP_Pin;
  GPIO_InitStruct.Mode = GPIO_MODE_AF_PP;
  GPIO_InitStruct.Pull = GPIO_NOPULL;
  GPIO_InitStruct.Speed = GPIO_SPEED_FREQ_VERY_HIGH;
  GPIO_InitStruct.Alternate = GPIO_AF10_OTG_FS;
  HAL_GPIO_Init(GPIOA, &GPIO_InitStruct);

  /*Configure GPIO pin : PMOD_SPI2_SCK_Pin */
  GPIO_InitStruct.Pin = PMOD_SPI2_SCK_Pin;
  GPIO_InitStruct.Mode = GPIO_MODE_AF_PP;
  GPIO_InitStruct.Pull = GPIO_NOPULL;
  GPIO_InitStruct.Speed = GPIO_SPEED_FREQ_VERY_HIGH;
  GPIO_InitStruct.Alternate = GPIO_AF5_SPI2;
  HAL_GPIO_Init(PMOD_SPI2_SCK_GPIO_Port, &GPIO_InitStruct);

  /*Configure GPIO pins : PMOD_UART2_CTS_Pin PMOD_UART2_RTS_Pin PMOD_UART2_TX_Pin PMOD_UART2_RX_Pin */
  GPIO_InitStruct.Pin = PMOD_UART2_CTS_Pin|PMOD_UART2_RTS_Pin|PMOD_UART2_TX_Pin|PMOD_UART2_RX_Pin;
  GPIO_InitStruct.Mode = GPIO_MODE_AF_PP;
  GPIO_InitStruct.Pull = GPIO_NOPULL;
  GPIO_InitStruct.Speed = GPIO_SPEED_FREQ_VERY_HIGH;
  GPIO_InitStruct.Alternate = GPIO_AF7_USART2;
  HAL_GPIO_Init(GPIOD, &GPIO_InitStruct);

  /*Configure GPIO pins : ARD_D15_Pin ARD_D14_Pin */
  GPIO_InitStruct.Pin = ARD_D15_Pin|ARD_D14_Pin;
  GPIO_InitStruct.Mode = GPIO_MODE_AF_OD;
  GPIO_InitStruct.Pull = GPIO_NOPULL;
  GPIO_InitStruct.Speed = GPIO_SPEED_FREQ_VERY_HIGH;
  GPIO_InitStruct.Alternate = GPIO_AF4_I2C1;
  HAL_GPIO_Init(GPIOB, &GPIO_InitStruct);

  /* EXTI interrupt init*/
  HAL_NVIC_SetPriority(EXTI9_5_IRQn, 0, 0);
  HAL_NVIC_EnableIRQ(EXTI9_5_IRQn);

  HAL_NVIC_SetPriority(EXTI15_10_IRQn, 0, 0);
  HAL_NVIC_EnableIRQ(EXTI15_10_IRQn);

}

void Error_Handler(void)
{
  __disable_irq();
  while (1)
  {
  }
}

/************************ (C) COPYRIGHT STMicroelectronics *****END OF FILE****/
